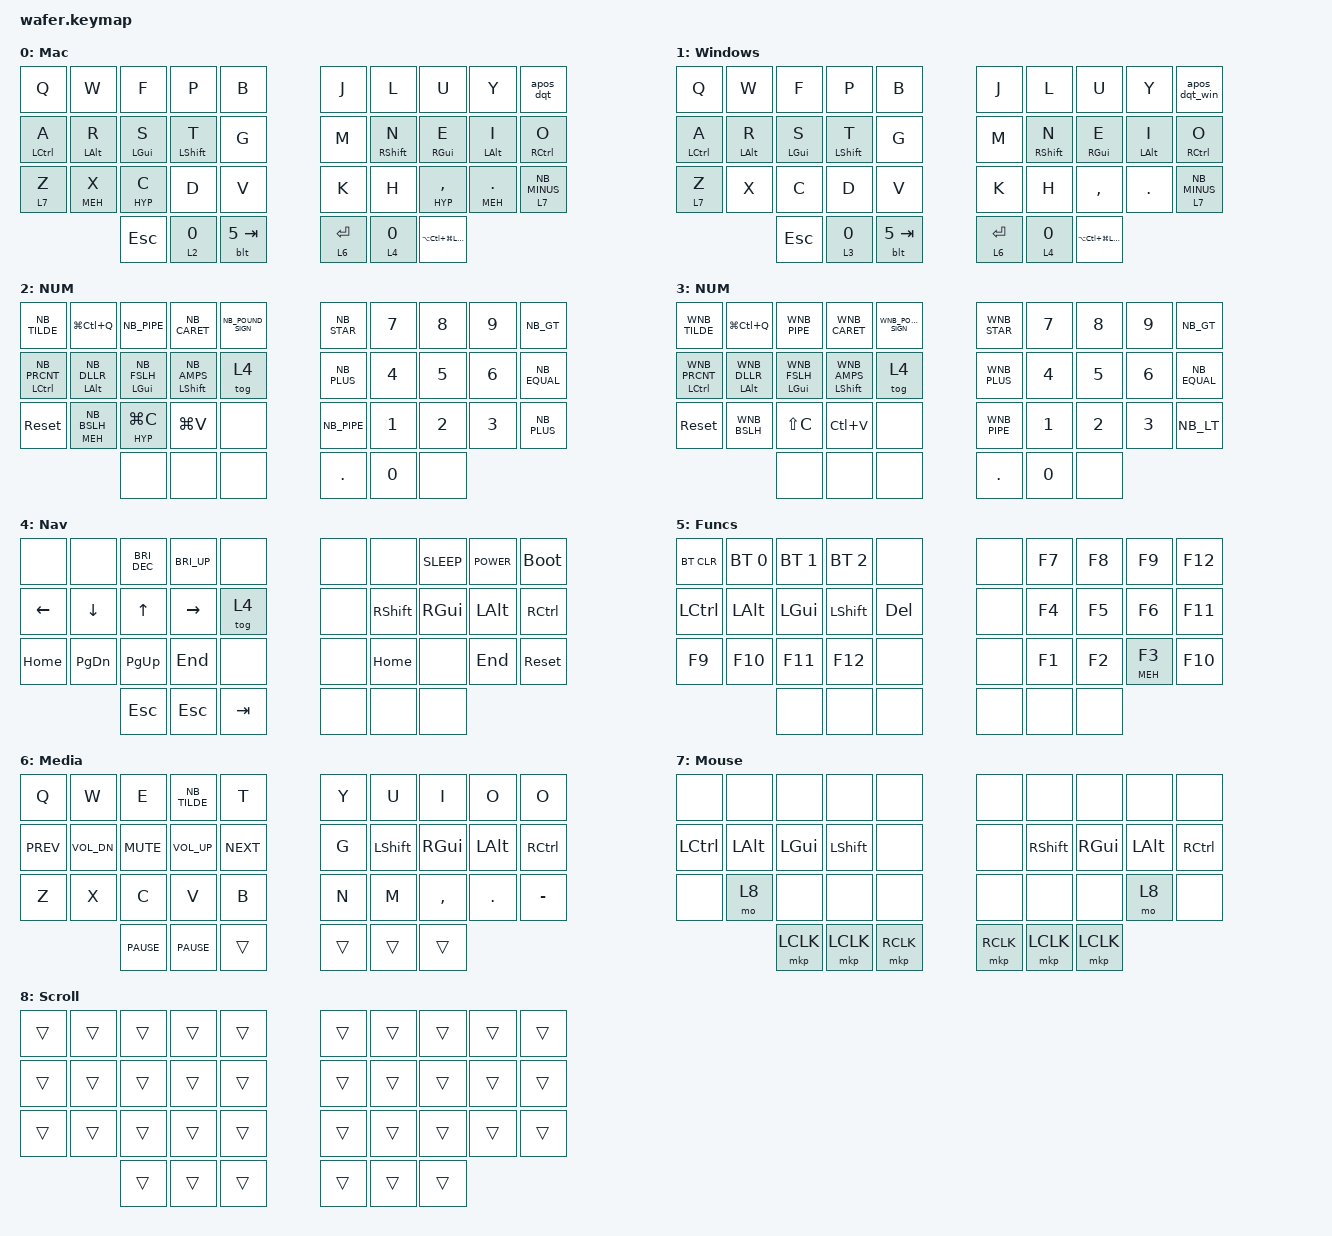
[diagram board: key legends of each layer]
#include "keys_nb_osx.h"
#include "keys_nb_win.h"
#include <behaviors.dtsi>
#include <dt-bindings/zmk/bt.h>
#include <dt-bindings/zmk/keys.h>
#include <dt-bindings/zmk/pointing.h>
#include "combos.dtsi"
#include "behaviours.dtsi"
#include "common.dtsi"

// Wafer: 36 keys (3x5 + 3 thumbs per half), board from oleksandrmaslov/wafer-zmk-config.
// Layers match charybdis.keymap; the outer thumbs (positions 30 and 35) are extra.
// combos.dtsi is written for 2 thumbs per half (positions 30-33), so the thumb
// combos are moved onto the same physical keys here (space/tab/enter/backspace).
/ {
    combos {
        combo_escape { key-positions = <31 32>; };          // space + tab
        combo_HYP { key-positions = <33 34>; };             // enter + backspace
        combo_layer_toggle { key-positions = <31 34>; };    // space + backspace
    };
};

/ {
    keymap {
        compatible = "zmk,keymap";

        // ╔═══════════════════════════════════════════════════════════════════════════╗
        // ║                         DEFAULT LAYER (Mac)                               ║
        // ║  Colemak-DH base layout with home row mods (36-key Wafer)                 ║
        // ╚═══════════════════════════════════════════════════════════════════════════╝
        default {
            bindings = <
        // ╭─────────────┬─────────────┬─────────────┬─────────────┬─────────────╮   ╭─────────────┬─────────────┬─────────────┬─────────────┬─────────────╮
             &kp Q         &kp W         &kp F         &kp P         &kp B             &kp J         &kp L         &kp U         &kp Y         &apos_dqt
        // ├─────────────┼─────────────┼─────────────┼─────────────┼─────────────┤   ├─────────────┼─────────────┼─────────────┼─────────────┼─────────────┤
             &hml LCTRL A  &hml LALT R   &hml LGUI S   &hml LSHFT T  &kp G             &kp M         &hmr RSHFT N  &hmr RGUI E   &hmr LALT I   &hmr RCTRL O
        // ├─────────────┼─────────────┼─────────────┼─────────────┼─────────────┤   ├─────────────┼─────────────┼─────────────┼─────────────┼─────────────┤
             &lt 7 Z       &hml MEH X    &hml HYP C    &kp D         &kp V             &kp K         &kp H      &hmr HYP COMMA   &hmr MEH DOT &lt 7 NB_MINUS
        // ╰─────────────┴─────────────┴───────┬─────┴───────┬─────┴───────┬─────┴───────╮   ╭───────┴─────┬───────┴─────┬───────┴─────┬───────┴─────────────┴─────────────╯
                                         &kp ESC       &lt_spcesc 2 0 &blt 5 TAB       &lt 6 ENTER   &lt_bspc 4 0  &kp LA(LC(LG(LSHFT)))
        //                                   ╰─────────────┴─────────────┴─────────────╯   ╰─────────────┴─────────────┴─────────────╯
            >;

            display-name = "Mac";
        };

        // ╔═══════════════════════════════════════════════════════════════════════════╗
        // ║                       WINDOWS LAYER                                       ║
        // ║  Same as Mac but uses Windows-specific quote behavior                     ║
        // ╚═══════════════════════════════════════════════════════════════════════════╝
        win {
            bindings = <
        // ╭─────────────┬─────────────┬─────────────┬─────────────┬─────────────╮   ╭─────────────┬─────────────┬─────────────┬─────────────┬─────────────╮
             &kp Q         &kp W         &kp F         &kp P         &kp B             &kp J         &kp L         &kp U         &kp Y         &apos_dqt_win
        // ├─────────────┼─────────────┼─────────────┼─────────────┼─────────────┤   ├─────────────┼─────────────┼─────────────┼─────────────┼─────────────┤
             &hml LCTRL A  &hml LALT R   &hml LGUI S   &hml LSHFT T  &kp G             &kp M         &hmr RSHFT N  &hmr RGUI E   &hmr LALT I   &hmr RCTRL O
        // ├─────────────┼─────────────┼─────────────┼─────────────┼─────────────┤   ├─────────────┼─────────────┼─────────────┼─────────────┼─────────────┤
             &lt 7 Z       &kp X         &kp C         &kp D         &kp V             &kp K         &kp H         &kp COMMA     &kp DOT       &lt 7 NB_MINUS
        // ╰─────────────┴─────────────┴───────┬─────┴───────┬─────┴───────┬─────┴───────╮   ╭───────┴─────┬───────┴─────┬───────┴─────┬───────┴─────────────┴─────────────╯
                                         &kp ESC       &lt_spcesc 3 0 &blt 5 TAB       &lt 6 ENTER   &lt_bspc 4 0  &kp LA(LC(LG(LSHFT)))
        //                                   ╰─────────────┴─────────────┴─────────────╯   ╰─────────────┴─────────────┴─────────────╯
            >;

            display-name = "Windows";
        };

        // ╔═══════════════════════════════════════════════════════════════════════════╗
        // ║                         NUMBERS LAYER (Mac)                               ║
        // ║  Number pad on right, symbols on left                                     ║
        // ╚═══════════════════════════════════════════════════════════════════════════╝
        numbers {
            bindings = <
        // ╭─────────────┬─────────────┬─────────────┬─────────────┬─────────────╮   ╭─────────────┬─────────────┬─────────────┬─────────────┬─────────────╮
             &kp NB_TILDE  &kp LG(LC(Q)) &kp NB_PIPE   &kp NB_CARET  &kp NB_POUND_SIGN &kp NB_STAR   &kp N7        &kp N8        &kp N9        &kp NB_GT
        // ├─────────────┼─────────────┼─────────────┼─────────────┼─────────────┤   ├─────────────┼─────────────┼─────────────┼─────────────┼─────────────┤
             &hml LCTRL NB_PRCNT &hml LALT NB_DLLR &hml LGUI NB_FSLH &hml LSHFT NB_AMPS &tog 4   &kp NB_PLUS   &kp N4   &kp N5   &kp N6        &kp NB_EQUAL
        // ├─────────────┼─────────────┼─────────────┼─────────────┼─────────────┤   ├─────────────┼─────────────┼─────────────┼─────────────┼─────────────┤
             &sys_reset &hml MEH NB_BSLH &hml HYP LG(C) &kp LG(V)     &none           &kp NB_PIPE   &kp N1        &kp N2        &kp N3        &kp NB_PLUS
        // ╰─────────────┴─────────────┴───────┬─────┴───────┬─────┴───────┬─────┴───────╮   ╭───────┴─────┬───────┴─────┬───────┴─────┬───────┴─────────────┴─────────────╯
                                         &none         &none         &none             &kp DOT       &kp N0  &none
        //                                   ╰─────────────┴─────────────┴─────────────╯   ╰─────────────┴─────────────┴─────────────╯
            >;

            display-name = "NUM";
        };

        // ╔═══════════════════════════════════════════════════════════════════════════╗
        // ║                      NUMBERS LAYER (Windows)                              ║
        // ║  Number pad on right, symbols on left (Windows keycodes)                  ║
        // ╚═══════════════════════════════════════════════════════════════════════════╝
        num_win {
            bindings = <
        // ╭─────────────┬─────────────┬─────────────┬─────────────┬─────────────╮   ╭─────────────┬─────────────┬─────────────┬─────────────┬─────────────╮
             &kp WNB_TILDE &kp LG(LC(Q)) &kp WNB_PIPE  &kp WNB_CARET &kp WNB_POUND_SIGN &kp WNB_STAR  &kp N7        &kp N8        &kp N9        &kp NB_GT
        // ├─────────────┼─────────────┼─────────────┼─────────────┼─────────────┤   ├─────────────┼─────────────┼─────────────┼─────────────┼─────────────┤
             &hml LCTRL WNB_PRCNT &hml LALT WNB_DLLR &hml LGUI WNB_FSLH &hml LSHFT WNB_AMPS &tog 4  &kp WNB_PLUS  &kp N4        &kp N5        &kp N6        &kp NB_EQUAL
        // ├─────────────┼─────────────┼─────────────┼─────────────┼─────────────┤   ├─────────────┼─────────────┼─────────────┼─────────────┼─────────────┤
             &sys_reset    &kp WNB_BSLH  &kp LS(C)     &kp LC(V)     &none             &kp WNB_PIPE  &kp N1        &kp N2        &kp N3        &kp NB_LT
        // ╰─────────────┴─────────────┴───────┬─────┴───────┬─────┴───────┬─────┴───────╮   ╭───────┴─────┬───────┴─────┬───────┴─────┬───────┴─────────────┴─────────────╯
                                         &none         &none         &none             &kp DOT       &kp N0  &none
        //                                   ╰─────────────┴─────────────┴─────────────╯   ╰─────────────┴─────────────┴─────────────╯
            >;

            display-name = "NUM";
        };

        // ╔═══════════════════════════════════════════════════════════════════════════╗
        // ║                         NAVIGATION LAYER                                  ║
        // ║  Arrow keys, page navigation, brightness, power controls                  ║
        // ╚═══════════════════════════════════════════════════════════════════════════╝
        nav {
            bindings = <
        // ╭─────────────┬─────────────┬─────────────┬─────────────┬─────────────╮   ╭─────────────┬─────────────┬─────────────┬─────────────┬─────────────╮
             &none         &none         &kp C_BRI_DEC &kp C_BRI_UP  &none             &none         &none         &kp C_SLEEP   &kp C_POWER   &bootloader
        // ├─────────────┼─────────────┼─────────────┼─────────────┼─────────────┤   ├─────────────┼─────────────┼─────────────┼─────────────┼─────────────┤
             &kp LEFT      &kp DOWN      &kp UP        &kp RIGHT     &tog 4            &none         &kp RSHFT     &kp RGUI      &kp LALT      &kp RCTRL
        // ├─────────────┼─────────────┼─────────────┼─────────────┼─────────────┤   ├─────────────┼─────────────┼─────────────┼─────────────┼─────────────┤
             &kp HOME      &kp PG_DN     &kp PG_UP     &kp END       &none             &none         &kp HOME      &none         &kp END       &sys_reset
        // ╰─────────────┴─────────────┴───────┬─────┴───────┬─────┴───────┬─────┴───────╮   ╭───────┴─────┬───────┴─────┬───────┴─────┬───────┴─────────────┴─────────────╯
                                         &kp ESC       &kp ESC       &kp TAB           &none         &none  &none
        //                                   ╰─────────────┴─────────────┴─────────────╯   ╰─────────────┴─────────────┴─────────────╯
            >;

            display-name = "Nav";
        };

        // ╔═══════════════════════════════════════════════════════════════════════════╗
        // ║                        FUNCTION KEYS LAYER                                ║
        // ║  Function keys (F1-F12) and Bluetooth controls                            ║
        // ╚═══════════════════════════════════════════════════════════════════════════╝
        fn {
            bindings = <
        // ╭─────────────┬─────────────┬─────────────┬─────────────┬─────────────╮   ╭─────────────┬─────────────┬─────────────┬─────────────┬─────────────╮
             &bt BT_CLR    &bt BT_SEL 0  &bt BT_SEL 1  &bt BT_SEL 2  &none             &none         &kp F7        &kp F8        &kp F9        &kp F12
        // ├─────────────┼─────────────┼─────────────┼─────────────┼─────────────┤   ├─────────────┼─────────────┼─────────────┼─────────────┼─────────────┤
             &kp LCTRL     &kp LALT      &kp LGUI      &kp LSHIFT    &kp DEL           &none         &kp F4        &kp F5        &kp F6        &kp F11
        // ├─────────────┼─────────────┼─────────────┼─────────────┼─────────────┤   ├─────────────┼─────────────┼─────────────┼─────────────┼─────────────┤
             &kp F9        &kp F10       &kp F11       &kp F12       &none             &none         &kp F1        &kp F2        &hmr MEH F3   &kp F10
        // ╰─────────────┴─────────────┴───────┬─────┴───────┬─────┴───────┬─────┴───────╮   ╭───────┴─────┬───────┴─────┬───────┴─────┬───────┴─────────────┴─────────────╯
                                         &none         &none         &none             &none         &none  &none
        //                                   ╰─────────────┴─────────────┴─────────────╯   ╰─────────────┴─────────────┴─────────────╯
            >;

            display-name = "Funcs";
        };

        // ╔═══════════════════════════════════════════════════════════════════════════╗
        // ║                          MEDIA LAYER                                      ║
        // ║  Media playback controls and volume                                       ║
        // ╚═══════════════════════════════════════════════════════════════════════════╝
        controls {
            bindings = <
        // ╭─────────────┬─────────────┬─────────────┬─────────────┬─────────────╮   ╭─────────────┬─────────────┬─────────────┬─────────────┬─────────────╮
             &kp Q         &kp W         &kp E         &kp NB_TILDE  &kp T             &kp Y         &kp U         &kp I         &kp O         &kp O
        // ├─────────────┼─────────────┼─────────────┼─────────────┼─────────────┤   ├─────────────┼─────────────┼─────────────┼─────────────┼─────────────┤
             &kp C_PREV    &kp C_VOL_DN  &kp C_MUTE    &kp C_VOL_UP  &kp C_NEXT        &kp G         &kp LSHFT     &kp RGUI      &kp LALT      &kp RCTRL
        // ├─────────────┼─────────────┼─────────────┼─────────────┼─────────────┤   ├─────────────┼─────────────┼─────────────┼─────────────┼─────────────┤
             &kp Z         &kp X         &kp C         &kp V         &kp B             &kp N         &kp M         &kp COMMA     &kp DOT       &kp MINUS
        // ╰─────────────┴─────────────┴───────┬─────┴───────┬─────┴───────┬─────┴───────╮   ╭───────┴─────┬───────┴─────┬───────┴─────┬───────┴─────────────┴─────────────╯
                                         &kp C_PAUSE   &kp C_PAUSE   &trans            &trans        &trans  &trans
        //                                   ╰─────────────┴─────────────┴─────────────╯   ╰─────────────┴─────────────┴─────────────╯
            >;

            display-name = "Media";
        };

        // ╔═══════════════════════════════════════════════════════════════════════════╗
        // ║                          MOUSE LAYER                                      ║
        // ║  Mouse button controls (use trackball for movement)                       ║
        // ╚═══════════════════════════════════════════════════════════════════════════╝
        mouse {
            bindings = <
        // ╭─────────────┬─────────────┬─────────────┬─────────────┬─────────────╮   ╭─────────────┬─────────────┬─────────────┬─────────────┬─────────────╮
             &none         &none         &none         &none         &none             &none         &none         &none         &none         &none
        // ├─────────────┼─────────────┼─────────────┼─────────────┼─────────────┤   ├─────────────┼─────────────┼─────────────┼─────────────┼─────────────┤
             &kp LCTRL     &kp LALT      &kp LGUI      &kp LSHIFT    &none             &none         &kp RSHFT     &kp RGUI      &kp LALT      &kp RCTRL
        // ├─────────────┼─────────────┼─────────────┼─────────────┼─────────────┤   ├─────────────┼─────────────┼─────────────┼─────────────┼─────────────┤
             &none         &mo 8         &none         &none         &none             &none         &none         &none         &mo 8         &none
        // ╰─────────────┴─────────────┴───────┬─────┴───────┬─────┴───────┬─────┴───────╮   ╭───────┴─────┬───────┴─────┬───────┴─────┬───────┴─────────────┴─────────────╯
                                         &mkp LCLK     &mkp LCLK     &mkp RCLK         &mkp RCLK     &mkp LCLK  &mkp LCLK
        //                                   ╰─────────────┴─────────────┴─────────────╯   ╰─────────────┴─────────────┴─────────────╯
            >;
            display-name = "Mouse";
        };

        // ╔═══════════════════════════════════════════════════════════════════════════╗
        // ║                         SCROLL LAYER                                      ║
        // ║  Scroll mode for trackball (all keys transparent)                         ║
        // ╚═══════════════════════════════════════════════════════════════════════════╝
        scrolly_moly {
            bindings = <
        // ╭─────────────┬─────────────┬─────────────┬─────────────┬─────────────╮   ╭─────────────┬─────────────┬─────────────┬─────────────┬─────────────╮
             &trans        &trans        &trans        &trans        &trans            &trans        &trans        &trans        &trans        &trans
        // ├─────────────┼─────────────┼─────────────┼─────────────┼─────────────┤   ├─────────────┼─────────────┼─────────────┼─────────────┼─────────────┤
             &trans        &trans        &trans        &trans        &trans            &trans        &trans        &trans        &trans        &trans
        // ├─────────────┼─────────────┼─────────────┼─────────────┼─────────────┤   ├─────────────┼─────────────┼─────────────┼─────────────┼─────────────┤
             &trans        &trans        &trans        &trans        &trans            &trans        &trans        &trans        &trans        &trans
        // ╰─────────────┴─────────────┴───────┬─────┴───────┬─────┴───────┬─────┴───────╮   ╭───────┴─────┬───────┴─────┬───────┴─────┬───────┴─────────────┴─────────────╯
                                         &trans        &trans        &trans            &trans        &trans  &trans
        //                                   ╰─────────────┴─────────────┴─────────────╯   ╰─────────────┴─────────────┴─────────────╯
            >;
            display-name = "Scroll";
        };
    };
};
